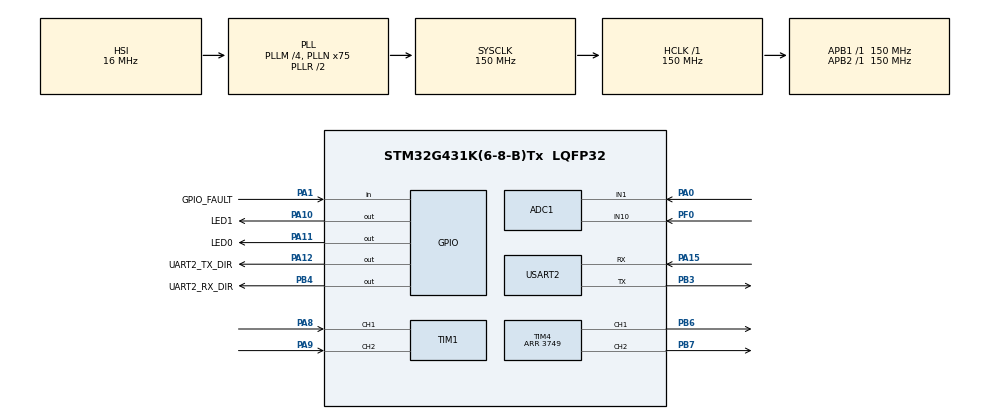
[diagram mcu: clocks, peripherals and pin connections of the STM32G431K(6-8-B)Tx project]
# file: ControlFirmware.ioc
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ADC1.Channel-0\#ChannelRegularConversion=ADC_CHANNEL_1
ADC1.Channel-1\#ChannelRegularConversion=ADC_CHANNEL_1
ADC1.Channel-2\#ChannelRegularConversion=ADC_CHANNEL_10
ADC1.EOCSelection=ADC_EOC_SEQ_CONV
ADC1.ExternalTrigConv=ADC_EXTERNALTRIG_T4_TRGO
ADC1.NbrOfConversion=3
ADC1.NbrOfConversionFlag=1
ADC1.OffsetNumber-0\#ChannelRegularConversion=ADC_OFFSET_NONE
ADC1.OffsetNumber-1\#ChannelRegularConversion=ADC_OFFSET_NONE
ADC1.OffsetNumber-2\#ChannelRegularConversion=ADC_OFFSET_NONE
ADC1.Rank-0\#ChannelRegularConversion=1
ADC1.Rank-1\#ChannelRegularConversion=2
ADC1.Rank-2\#ChannelRegularConversion=3
ADC1.SamplingTime-0\#ChannelRegularConversion=ADC_SAMPLETIME_2CYCLES_5
ADC1.SamplingTime-1\#ChannelRegularConversion=ADC_SAMPLETIME_2CYCLES_5
ADC1.SamplingTime-2\#ChannelRegularConversion=ADC_SAMPLETIME_2CYCLES_5
ADC1.master=1
Dma.ADC1.2.Direction=DMA_PERIPH_TO_MEMORY
Dma.ADC1.2.EventEnable=DISABLE
Dma.ADC1.2.Instance=DMA1_Channel3
Dma.ADC1.2.MemDataAlignment=DMA_MDATAALIGN_HALFWORD
Dma.ADC1.2.MemInc=DMA_MINC_ENABLE
Dma.ADC1.2.Mode=DMA_CIRCULAR
Dma.ADC1.2.PeriphDataAlignment=DMA_PDATAALIGN_HALFWORD
Dma.ADC1.2.PeriphInc=DMA_PINC_DISABLE
Dma.ADC1.2.Polarity=HAL_DMAMUX_REQ_GEN_RISING
Dma.ADC1.2.Priority=DMA_PRIORITY_LOW
Dma.ADC1.2.RequestNumber=1
Dma.ADC1.2.SignalID=NONE
Dma.ADC1.2.SyncEnable=DISABLE
Dma.ADC1.2.SyncPolarity=HAL_DMAMUX_SYNC_NO_EVENT
Dma.ADC1.2.SyncRequestNumber=1
Dma.ADC1.2.SyncSignalID=NONE
Dma.Request0=USART2_RX
Dma.Request1=USART2_TX
Dma.Request2=ADC1
Dma.USART2_RX.0.Direction=DMA_PERIPH_TO_MEMORY
Dma.USART2_RX.0.EventEnable=DISABLE
Dma.USART2_RX.0.Instance=DMA1_Channel1
Dma.USART2_RX.0.MemDataAlignment=DMA_MDATAALIGN_BYTE
Dma.USART2_RX.0.MemInc=DMA_MINC_ENABLE
Dma.USART2_RX.0.Mode=DMA_CIRCULAR
Dma.USART2_RX.0.PeriphDataAlignment=DMA_PDATAALIGN_BYTE
Dma.USART2_RX.0.PeriphInc=DMA_PINC_DISABLE
Dma.USART2_RX.0.Polarity=HAL_DMAMUX_REQ_GEN_RISING
Dma.USART2_RX.0.Priority=DMA_PRIORITY_LOW
Dma.USART2_RX.0.RequestNumber=1
Dma.USART2_RX.0.SignalID=NONE
Dma.USART2_RX.0.SyncEnable=DISABLE
Dma.USART2_RX.0.SyncPolarity=HAL_DMAMUX_SYNC_NO_EVENT
Dma.USART2_RX.0.SyncRequestNumber=1
Dma.USART2_RX.0.SyncSignalID=NONE
Dma.USART2_TX.1.Direction=DMA_MEMORY_TO_PERIPH
Dma.USART2_TX.1.EventEnable=DISABLE
Dma.USART2_TX.1.Instance=DMA1_Channel2
Dma.USART2_TX.1.MemDataAlignment=DMA_MDATAALIGN_BYTE
Dma.USART2_TX.1.MemInc=DMA_MINC_ENABLE
Dma.USART2_TX.1.Mode=DMA_NORMAL
Dma.USART2_TX.1.PeriphDataAlignment=DMA_PDATAALIGN_BYTE
Dma.USART2_TX.1.PeriphInc=DMA_PINC_DISABLE
Dma.USART2_TX.1.Polarity=HAL_DMAMUX_REQ_GEN_RISING
Dma.USART2_TX.1.Priority=DMA_PRIORITY_LOW
Dma.USART2_TX.1.RequestNumber=1
Dma.USART2_TX.1.SignalID=NONE
Dma.USART2_TX.1.SyncEnable=DISABLE
Dma.USART2_TX.1.SyncPolarity=HAL_DMAMUX_SYNC_NO_EVENT
Dma.USART2_TX.1.SyncRequestNumber=1
Dma.USART2_TX.1.SyncSignalID=NONE
Mcu.Family=STM32G4
Mcu.Name=STM32G431K(6-8-B)Tx
Mcu.Package=LQFP32
NVIC.ADC1_2_IRQn=true\:0\:0\:false\:false\:true\:true\:true
NVIC.DMA1_Channel1_IRQn=true\:0\:0\:false\:false\:true\:false\:true
NVIC.DMA1_Channel2_IRQn=true\:0\:0\:false\:false\:true\:false\:true
NVIC.DMA1_Channel3_IRQn=true\:0\:0\:false\:false\:true\:false\:true
NVIC.PriorityGroup=NVIC_PRIORITYGROUP_4
NVIC.TIM4_IRQn=true\:0\:0\:false\:false\:true\:true\:true
NVIC.USART2_IRQn=true\:0\:0\:false\:false\:true\:true\:true
PA0.Mode=IN1-Single-Ended
PA0.Signal=ADC1_IN1
PA1.GPIO_Label=GPIO_FAULT
PA1.GPIO_PuPd=GPIO_PULLUP
PA1.Signal=GPIO_Input
PA10.GPIO_Label=LED1
PA10.GPIO_ModeDefaultOutputPP=GPIO_MODE_OUTPUT_OD
PA10.Signal=GPIO_Output
PA11.GPIO_Label=LED0
PA11.GPIO_ModeDefaultOutputPP=GPIO_MODE_OUTPUT_OD
PA11.Signal=GPIO_Output
PA12.GPIO_Label=UART2_TX_DIR
PA12.Signal=GPIO_Output
PA13.Mode=Serial_Wire
PA13.Signal=SYS_JTMS-SWDIO
PA14.Mode=Serial_Wire
PA14.Signal=SYS_JTCK-SWCLK
PA15.Mode=Asynchronous
PA15.Signal=USART2_RX
PA8.Signal=S_TIM1_CH1
PA9.Signal=S_TIM1_CH2
PB3.Mode=Asynchronous
PB3.Signal=USART2_TX
PB4.GPIO_Label=UART2_RX_DIR
PB4.Signal=GPIO_Output
PB6.Signal=S_TIM4_CH1
PB7.Signal=S_TIM4_CH2
PF0-OSC_IN.Mode=IN10-Single-Ended
PF0-OSC_IN.Signal=ADC1_IN10
ProjectManager.HeapSize=0x200
ProjectManager.StackSize=0x400
ProjectManager.TargetToolchain=STM32CubeIDE
RCC.ADC12Freq_Value=150000000
RCC.AHBFreq_Value=150000000
RCC.APB1Freq_Value=150000000
RCC.APB1TimFreq_Value=150000000
RCC.APB2Freq_Value=150000000
RCC.APB2TimFreq_Value=150000000
RCC.CortexFreq_Value=150000000
RCC.EXTERNAL_CLOCK_VALUE=12288000
RCC.HCLKFreq_Value=150000000
RCC.HSE_VALUE=8000000
RCC.HSI48_VALUE=48000000
RCC.HSI_VALUE=16000000
RCC.LSE_VALUE=32768
RCC.PLLM=RCC_PLLM_DIV4
RCC.PLLN=75
RCC.SYSCLKFreq_VALUE=150000000
RCC.SYSCLKSource=RCC_SYSCLKSOURCE_PLLCLK
RCC.USBFreq_Value=150000000
RCC.VCOOutputFreq_Value=300000000
SH.S_TIM1_CH1.0=TIM1_CH1,Encoder_Interface
SH.S_TIM1_CH2.0=TIM1_CH2,Encoder_Interface
SH.S_TIM4_CH1.0=TIM4_CH1,PWM Generation1 CH1
SH.S_TIM4_CH2.0=TIM4_CH2,PWM Generation2 CH2
TIM1.EncoderMode=TIM_ENCODERMODE_TI12
TIM4.Channel-PWM\ Generation1\ CH1=TIM_CHANNEL_1
TIM4.Channel-PWM\ Generation2\ CH2=TIM_CHANNEL_2
TIM4.CounterMode=TIM_COUNTERMODE_CENTERALIGNED1
TIM4.PeriodNoDither=3749
TIM4.TIM_MasterOutputTrigger=TIM_TRGO_UPDATE
TIM6.Prescaler=149
USART2.VirtualMode-Asynchronous=VM_ASYNC
VP_SYS_VS_DBSignals.Mode=DisableDeadBatterySignals
VP_TIM4_VS_ClockSourceINT.Mode=Internal
VP_TIM6_VS_ClockSourceINT.Mode=Enable_Timer
board=custom

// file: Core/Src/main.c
/* USER CODE BEGIN Header */
/**
  ******************************************************************************
  * @file           : main.c
  * @brief          : Main program body
  ******************************************************************************
  * @attention
  *
  * <h2><center>&copy; Copyright (c) 2021 STMicroelectronics.
  * All rights reserved.</center></h2>
  *
  * This software component is licensed by ST under BSD 3-Clause license,
  * the "License"; You may not use this file except in compliance with the
  * License. You may obtain a copy of the License at:
  *                        opensource.org/licenses/BSD-3-Clause
  *
  ******************************************************************************
  */

// TODO : Serial baud sync with REGS

/* USER CODE END Header */
#include "main.h"

/* USER CODE BEGIN Includes */
#include "led.h"
#include "serial.h"
#include "eeprom.h"
#include "control_table.h"
#include "control_algo.h"
#include "protocol.h"
/* USER CODE END Includes */

ADC_HandleTypeDef hadc1;
DMA_HandleTypeDef hdma_adc1;

TIM_HandleTypeDef htim1;
TIM_HandleTypeDef htim4;
TIM_HandleTypeDef htim6;

UART_HandleTypeDef huart2;
DMA_HandleTypeDef hdma_usart2_rx;
DMA_HandleTypeDef hdma_usart2_tx;

/* USER CODE BEGIN PV */
HAL_Serial_Handler serial;
/* USER CODE END PV */

void SystemClock_Config(void);
static void MX_GPIO_Init(void);
static void MX_DMA_Init(void);
static void MX_ADC1_Init(void);
static void MX_TIM1_Init(void);
static void MX_TIM4_Init(void);
static void MX_USART2_UART_Init(void);
static void MX_TIM6_Init(void);

int main(void)
{

  /* MCU Configuration--------------------------------------------------------*/

  /* Reset of all peripherals, Initializes the Flash interface and the Systick. */
  HAL_Init();

  /* Configure the system clock */
  SystemClock_Config();

  /* Initialize all configured peripherals */
  MX_GPIO_Init();
  MX_DMA_Init();
  MX_ADC1_Init();
  MX_TIM1_Init();
  MX_TIM4_Init();
  MX_USART2_UART_Init();
  MX_TIM6_Init();
  /* USER CODE BEGIN 2 */
	HAL_Led_Init();
	HAL_Led_Blink(LED0,10,150);
	HAL_Led_Blink(LED1,10,150);
	HAL_Serial_Init_Half_Duplex(
		&huart2,
		&serial,
		UART2_TX_DIR_GPIO_Port,
		UART2_TX_DIR_Pin,
		GPIO_PIN_RESET,
		UART2_RX_DIR_GPIO_Port,
		UART2_RX_DIR_Pin,
		GPIO_PIN_RESET
	);
	if(eeprom_empty())
		factory_reset_eeprom_regs();
	load_eeprom_regs();
	reset_ram_regs();
	APP_Control_Init();
  /* USER CODE END 2 */

  /* Infinite loop */
  /* USER CODE BEGIN WHILE */
	uint32_t start_time = HAL_GetTick();
  while (1)
  {
    /* USER CODE END WHILE */

    /* USER CODE BEGIN 3 */
	  // Handle LED
	if(HAL_GetTick()>start_time+2000) // blink first 2 seconds
	{
		if(regs[REG_LED]==0)
		{
			HAL_Led_Reset(LED0);
		}
		else if(regs[REG_LED]==1)
		{
			HAL_Led_Set(LED0);
		}
	}
	HAL_Led_Process();

	// Handle communication
	while(HAL_Serial_Available(&serial))
	{
	  char c = HAL_Serial_GetChar(&serial);
	  packet_handler(c);
	}

	// regulation
	APP_Control_Process();
  }
  /* USER CODE END 3 */
}

void SystemClock_Config(void)
{
  RCC_OscInitTypeDef RCC_OscInitStruct = {0};
  RCC_ClkInitTypeDef RCC_ClkInitStruct = {0};
  RCC_PeriphCLKInitTypeDef PeriphClkInit = {0};

  /** Configure the main internal regulator output voltage
  */
  HAL_PWREx_ControlVoltageScaling(PWR_REGULATOR_VOLTAGE_SCALE1);
  /** Initializes the RCC Oscillators according to the specified parameters
  * in the RCC_OscInitTypeDef structure.
  */
  RCC_OscInitStruct.OscillatorType = RCC_OSCILLATORTYPE_HSI;
  RCC_OscInitStruct.HSIState = RCC_HSI_ON;
  RCC_OscInitStruct.HSICalibrationValue = RCC_HSICALIBRATION_DEFAULT;
  RCC_OscInitStruct.PLL.PLLState = RCC_PLL_ON;
  RCC_OscInitStruct.PLL.PLLSource = RCC_PLLSOURCE_HSI;
  RCC_OscInitStruct.PLL.PLLM = RCC_PLLM_DIV4;
  RCC_OscInitStruct.PLL.PLLN = 75;
  RCC_OscInitStruct.PLL.PLLP = RCC_PLLP_DIV2;
  RCC_OscInitStruct.PLL.PLLQ = RCC_PLLQ_DIV2;
  RCC_OscInitStruct.PLL.PLLR = RCC_PLLR_DIV2;
  if (HAL_RCC_OscConfig(&RCC_OscInitStruct) != HAL_OK)
  {
    Error_Handler();
  }
  /** Initializes the CPU, AHB and APB buses clocks
  */
  RCC_ClkInitStruct.ClockType = RCC_CLOCKTYPE_HCLK|RCC_CLOCKTYPE_SYSCLK
                              |RCC_CLOCKTYPE_PCLK1|RCC_CLOCKTYPE_PCLK2;
  RCC_ClkInitStruct.SYSCLKSource = RCC_SYSCLKSOURCE_PLLCLK;
  RCC_ClkInitStruct.AHBCLKDivider = RCC_SYSCLK_DIV1;
  RCC_ClkInitStruct.APB1CLKDivider = RCC_HCLK_DIV1;
  RCC_ClkInitStruct.APB2CLKDivider = RCC_HCLK_DIV1;

  if (HAL_RCC_ClockConfig(&RCC_ClkInitStruct, FLASH_LATENCY_4) != HAL_OK)
  {
    Error_Handler();
  }
  /** Initializes the peripherals clocks
  */
  PeriphClkInit.PeriphClockSelection = RCC_PERIPHCLK_USART2|RCC_PERIPHCLK_ADC12;
  PeriphClkInit.Usart2ClockSelection = RCC_USART2CLKSOURCE_PCLK1;
  PeriphClkInit.Adc12ClockSelection = RCC_ADC12CLKSOURCE_SYSCLK;
  if (HAL_RCCEx_PeriphCLKConfig(&PeriphClkInit) != HAL_OK)
  {
    Error_Handler();
  }
}

static void MX_ADC1_Init(void)
{

  ADC_MultiModeTypeDef multimode = {0};
  ADC_ChannelConfTypeDef sConfig = {0};

  /** Common config
  */
  hadc1.Instance = ADC1;
  hadc1.Init.ClockPrescaler = ADC_CLOCK_SYNC_PCLK_DIV4;
  hadc1.Init.Resolution = ADC_RESOLUTION_12B;
  hadc1.Init.DataAlign = ADC_DATAALIGN_RIGHT;
  hadc1.Init.GainCompensation = 0;
  hadc1.Init.ScanConvMode = ADC_SCAN_ENABLE;
  hadc1.Init.EOCSelection = ADC_EOC_SEQ_CONV;
  hadc1.Init.LowPowerAutoWait = DISABLE;
  hadc1.Init.ContinuousConvMode = DISABLE;
  hadc1.Init.NbrOfConversion = 3;
  hadc1.Init.DiscontinuousConvMode = DISABLE;
  hadc1.Init.ExternalTrigConv = ADC_EXTERNALTRIG_T4_TRGO;
  hadc1.Init.ExternalTrigConvEdge = ADC_EXTERNALTRIGCONVEDGE_RISING;
  hadc1.Init.DMAContinuousRequests = DISABLE;
  hadc1.Init.Overrun = ADC_OVR_DATA_PRESERVED;
  hadc1.Init.OversamplingMode = DISABLE;
  if (HAL_ADC_Init(&hadc1) != HAL_OK)
  {
    Error_Handler();
  }
  /** Configure the ADC multi-mode
  */
  multimode.Mode = ADC_MODE_INDEPENDENT;
  if (HAL_ADCEx_MultiModeConfigChannel(&hadc1, &multimode) != HAL_OK)
  {
    Error_Handler();
  }
  /** Configure Regular Channel
  */
  sConfig.Channel = ADC_CHANNEL_1;
  sConfig.Rank = ADC_REGULAR_RANK_1;
  sConfig.SamplingTime = ADC_SAMPLETIME_2CYCLES_5;
  sConfig.SingleDiff = ADC_SINGLE_ENDED;
  sConfig.OffsetNumber = ADC_OFFSET_NONE;
  sConfig.Offset = 0;
  if (HAL_ADC_ConfigChannel(&hadc1, &sConfig) != HAL_OK)
  {
    Error_Handler();
  }
  /** Configure Regular Channel
  */
  sConfig.Rank = ADC_REGULAR_RANK_2;
  if (HAL_ADC_ConfigChannel(&hadc1, &sConfig) != HAL_OK)
  {
    Error_Handler();
  }
  /** Configure Regular Channel
  */
  sConfig.Channel = ADC_CHANNEL_10;
  sConfig.Rank = ADC_REGULAR_RANK_3;
  if (HAL_ADC_ConfigChannel(&hadc1, &sConfig) != HAL_OK)
  {
    Error_Handler();
  }

}

static void MX_TIM1_Init(void)
{

  TIM_Encoder_InitTypeDef sConfig = {0};
  TIM_MasterConfigTypeDef sMasterConfig = {0};
  TIM_BreakDeadTimeConfigTypeDef sBreakDeadTimeConfig = {0};

  htim1.Instance = TIM1;
  htim1.Init.Prescaler = 0;
  htim1.Init.CounterMode = TIM_COUNTERMODE_UP;
  htim1.Init.Period = 65535;
  htim1.Init.ClockDivision = TIM_CLOCKDIVISION_DIV1;
  htim1.Init.RepetitionCounter = 0;
  htim1.Init.AutoReloadPreload = TIM_AUTORELOAD_PRELOAD_DISABLE;
  sConfig.EncoderMode = TIM_ENCODERMODE_TI12;
  sConfig.IC1Polarity = TIM_ICPOLARITY_RISING;
  sConfig.IC1Selection = TIM_ICSELECTION_DIRECTTI;
  sConfig.IC1Prescaler = TIM_ICPSC_DIV1;
  sConfig.IC1Filter = 0;
  sConfig.IC2Polarity = TIM_ICPOLARITY_RISING;
  sConfig.IC2Selection = TIM_ICSELECTION_DIRECTTI;
  sConfig.IC2Prescaler = TIM_ICPSC_DIV1;
  sConfig.IC2Filter = 0;
  if (HAL_TIM_Encoder_Init(&htim1, &sConfig) != HAL_OK)
  {
    Error_Handler();
  }
  sMasterConfig.MasterOutputTrigger = TIM_TRGO_RESET;
  sMasterConfig.MasterOutputTrigger2 = TIM_TRGO2_RESET;
  sMasterConfig.MasterSlaveMode = TIM_MASTERSLAVEMODE_DISABLE;
  if (HAL_TIMEx_MasterConfigSynchronization(&htim1, &sMasterConfig) != HAL_OK)
  {
    Error_Handler();
  }
  sBreakDeadTimeConfig.BreakAFMode = TIM_BREAK_AFMODE_INPUT;
  sBreakDeadTimeConfig.Break2AFMode = TIM_BREAK_AFMODE_INPUT;
  if (HAL_TIMEx_ConfigBreakDeadTime(&htim1, &sBreakDeadTimeConfig) != HAL_OK)
  {
    Error_Handler();
  }

}

static void MX_TIM4_Init(void)
{

  TIM_ClockConfigTypeDef sClockSourceConfig = {0};
  TIM_MasterConfigTypeDef sMasterConfig = {0};
  TIM_OC_InitTypeDef sConfigOC = {0};

  htim4.Instance = TIM4;
  htim4.Init.Prescaler = 0;
  htim4.Init.CounterMode = TIM_COUNTERMODE_CENTERALIGNED1;
  htim4.Init.Period = 3749;
  htim4.Init.ClockDivision = TIM_CLOCKDIVISION_DIV1;
  htim4.Init.AutoReloadPreload = TIM_AUTORELOAD_PRELOAD_DISABLE;
  if (HAL_TIM_Base_Init(&htim4) != HAL_OK)
  {
    Error_Handler();
  }
  sClockSourceConfig.ClockSource = TIM_CLOCKSOURCE_INTERNAL;
  if (HAL_TIM_ConfigClockSource(&htim4, &sClockSourceConfig) != HAL_OK)
  {
    Error_Handler();
  }
  if (HAL_TIM_PWM_Init(&htim4) != HAL_OK)
  {
    Error_Handler();
  }
  sMasterConfig.MasterOutputTrigger = TIM_TRGO_UPDATE;
  sMasterConfig.MasterSlaveMode = TIM_MASTERSLAVEMODE_DISABLE;
  if (HAL_TIMEx_MasterConfigSynchronization(&htim4, &sMasterConfig) != HAL_OK)
  {
    Error_Handler();
  }
  sConfigOC.OCMode = TIM_OCMODE_PWM1;
  sConfigOC.Pulse = 0;
  sConfigOC.OCPolarity = TIM_OCPOLARITY_HIGH;
  sConfigOC.OCFastMode = TIM_OCFAST_DISABLE;
  if (HAL_TIM_PWM_ConfigChannel(&htim4, &sConfigOC, TIM_CHANNEL_1) != HAL_OK)
  {
    Error_Handler();
  }
  sConfigOC.Pulse = 0;
  if (HAL_TIM_PWM_ConfigChannel(&htim4, &sConfigOC, TIM_CHANNEL_2) != HAL_OK)
  {
    Error_Handler();
  }
  HAL_TIM_MspPostInit(&htim4);

}

static void MX_TIM6_Init(void)
{

  TIM_MasterConfigTypeDef sMasterConfig = {0};

  htim6.Instance = TIM6;
  htim6.Init.Prescaler = 149;
  htim6.Init.CounterMode = TIM_COUNTERMODE_UP;
  htim6.Init.Period = 65535;
  htim6.Init.AutoReloadPreload = TIM_AUTORELOAD_PRELOAD_DISABLE;
  if (HAL_TIM_Base_Init(&htim6) != HAL_OK)
  {
    Error_Handler();
  }
  sMasterConfig.MasterOutputTrigger = TIM_TRGO_RESET;
  sMasterConfig.MasterSlaveMode = TIM_MASTERSLAVEMODE_DISABLE;
  if (HAL_TIMEx_MasterConfigSynchronization(&htim6, &sMasterConfig) != HAL_OK)
  {
    Error_Handler();
  }

}

static void MX_USART2_UART_Init(void)
{

  /* USER CODE BEGIN USART2_Init 1 */
	uint8_t baud_rate_from_eeprom = eeprom_base_address()[REG_BAUD_RATE];
		if(
				baud_rate_from_eeprom==1 || // 1Mb
				baud_rate_from_eeprom==2 || // 750k
				baud_rate_from_eeprom==3 || // 500k
				baud_rate_from_eeprom==4 || // 250k
				baud_rate_from_eeprom==5    // 115200
				)
		{
			uint32_t const baud_table[] = { 0, 1000000, 750000, 500000, 250000, 115200	};
			 huart2.Instance = USART2;
			  huart2.Init.BaudRate = baud_table[baud_rate_from_eeprom];
			  huart2.Init.WordLength = UART_WORDLENGTH_8B;
			  huart2.Init.StopBits = UART_STOPBITS_1;
			  huart2.Init.Parity = UART_PARITY_NONE;
			  huart2.Init.Mode = UART_MODE_TX_RX;
			  huart2.Init.HwFlowCtl = UART_HWCONTROL_NONE;
			  huart2.Init.OverSampling = UART_OVERSAMPLING_16;
			  huart2.Init.OneBitSampling = UART_ONE_BIT_SAMPLE_DISABLE;
			  huart2.Init.ClockPrescaler = UART_PRESCALER_DIV1;
			  huart2.AdvancedInit.AdvFeatureInit = UART_ADVFEATURE_NO_INIT;
			  if (HAL_UART_Init(&huart2) != HAL_OK)
			  {
			    Error_Handler();
			  }
			  if (HAL_UARTEx_SetTxFifoThreshold(&huart2, UART_TXFIFO_THRESHOLD_1_8) != HAL_OK)
			  {
			    Error_Handler();
			  }
			  if (HAL_UARTEx_SetRxFifoThreshold(&huart2, UART_RXFIFO_THRESHOLD_1_8) != HAL_OK)
			  {
			    Error_Handler();
			  }
			  if (HAL_UARTEx_DisableFifoMode(&huart2) != HAL_OK)
			  {
			    Error_Handler();
			  }
		}
		else
		{
  /* USER CODE END USART2_Init 1 */
  huart2.Instance = USART2;
  huart2.Init.BaudRate = 115200;
  huart2.Init.WordLength = UART_WORDLENGTH_8B;
  huart2.Init.StopBits = UART_STOPBITS_1;
  huart2.Init.Parity = UART_PARITY_NONE;
  huart2.Init.Mode = UART_MODE_TX_RX;
  huart2.Init.HwFlowCtl = UART_HWCONTROL_NONE;
  huart2.Init.OverSampling = UART_OVERSAMPLING_16;
  huart2.Init.OneBitSampling = UART_ONE_BIT_SAMPLE_DISABLE;
  huart2.Init.ClockPrescaler = UART_PRESCALER_DIV1;
  huart2.AdvancedInit.AdvFeatureInit = UART_ADVFEATURE_NO_INIT;
  if (HAL_UART_Init(&huart2) != HAL_OK)
  {
    Error_Handler();
  }
  if (HAL_UARTEx_SetTxFifoThreshold(&huart2, UART_TXFIFO_THRESHOLD_1_8) != HAL_OK)
  {
    Error_Handler();
  }
  if (HAL_UARTEx_SetRxFifoThreshold(&huart2, UART_RXFIFO_THRESHOLD_1_8) != HAL_OK)
  {
    Error_Handler();
  }
  if (HAL_UARTEx_DisableFifoMode(&huart2) != HAL_OK)
  {
    Error_Handler();
  }
		}

}

static void MX_DMA_Init(void)
{

  /* DMA controller clock enable */
  __HAL_RCC_DMAMUX1_CLK_ENABLE();
  __HAL_RCC_DMA1_CLK_ENABLE();

  /* DMA interrupt init */
  /* DMA1_Channel1_IRQn interrupt configuration */
  HAL_NVIC_SetPriority(DMA1_Channel1_IRQn, 0, 0);
  HAL_NVIC_EnableIRQ(DMA1_Channel1_IRQn);
  /* DMA1_Channel2_IRQn interrupt configuration */
  HAL_NVIC_SetPriority(DMA1_Channel2_IRQn, 0, 0);
  HAL_NVIC_EnableIRQ(DMA1_Channel2_IRQn);
  /* DMA1_Channel3_IRQn interrupt configuration */
  HAL_NVIC_SetPriority(DMA1_Channel3_IRQn, 0, 0);
  HAL_NVIC_EnableIRQ(DMA1_Channel3_IRQn);

}

static void MX_GPIO_Init(void)
{
  GPIO_InitTypeDef GPIO_InitStruct = {0};

  /* GPIO Ports Clock Enable */
  __HAL_RCC_GPIOF_CLK_ENABLE();
  __HAL_RCC_GPIOA_CLK_ENABLE();
  __HAL_RCC_GPIOB_CLK_ENABLE();

  /*Configure GPIO pin Output Level */
  HAL_GPIO_WritePin(GPIOA, LED1_Pin|LED0_Pin|UART2_TX_DIR_Pin, GPIO_PIN_RESET);

  /*Configure GPIO pin Output Level */
  HAL_GPIO_WritePin(UART2_RX_DIR_GPIO_Port, UART2_RX_DIR_Pin, GPIO_PIN_RESET);

  /*Configure GPIO pin : GPIO_FAULT_Pin */
  GPIO_InitStruct.Pin = GPIO_FAULT_Pin;
  GPIO_InitStruct.Mode = GPIO_MODE_INPUT;
  GPIO_InitStruct.Pull = GPIO_PULLUP;
  HAL_GPIO_Init(GPIO_FAULT_GPIO_Port, &GPIO_InitStruct);

  /*Configure GPIO pins : LED1_Pin LED0_Pin */
  GPIO_InitStruct.Pin = LED1_Pin|LED0_Pin;
  GPIO_InitStruct.Mode = GPIO_MODE_OUTPUT_OD;
  GPIO_InitStruct.Pull = GPIO_NOPULL;
  GPIO_InitStruct.Speed = GPIO_SPEED_FREQ_LOW;
  HAL_GPIO_Init(GPIOA, &GPIO_InitStruct);

  /*Configure GPIO pin : UART2_TX_DIR_Pin */
  GPIO_InitStruct.Pin = UART2_TX_DIR_Pin;
  GPIO_InitStruct.Mode = GPIO_MODE_OUTPUT_PP;
  GPIO_InitStruct.Pull = GPIO_NOPULL;
  GPIO_InitStruct.Speed = GPIO_SPEED_FREQ_LOW;
  HAL_GPIO_Init(UART2_TX_DIR_GPIO_Port, &GPIO_InitStruct);

  /*Configure GPIO pin : UART2_RX_DIR_Pin */
  GPIO_InitStruct.Pin = UART2_RX_DIR_Pin;
  GPIO_InitStruct.Mode = GPIO_MODE_OUTPUT_PP;
  GPIO_InitStruct.Pull = GPIO_NOPULL;
  GPIO_InitStruct.Speed = GPIO_SPEED_FREQ_LOW;
  HAL_GPIO_Init(UART2_RX_DIR_GPIO_Port, &GPIO_InitStruct);

}

void Error_Handler(void)
{
  __disable_irq();
  while (1)
  {
  }
}

/************************ (C) COPYRIGHT STMicroelectronics *****END OF FILE****/
